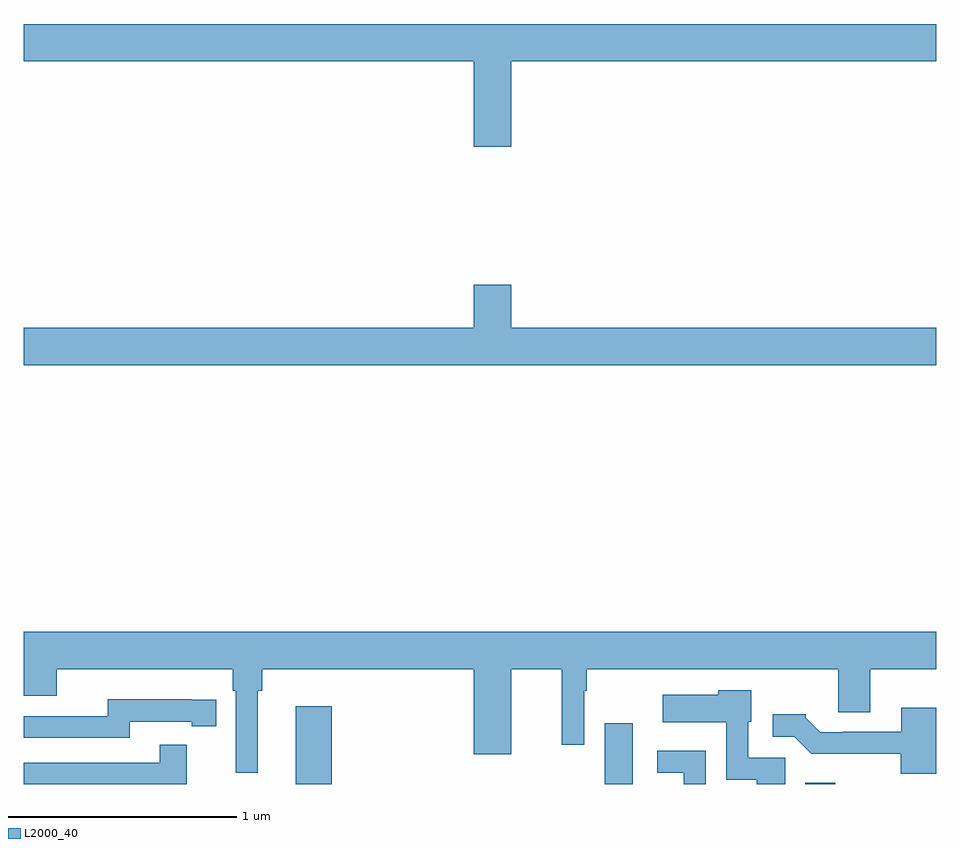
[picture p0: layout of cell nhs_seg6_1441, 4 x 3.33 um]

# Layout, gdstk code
import gdstk
lib = gdstk.Library(unit=1e-6, precision=1e-09)
def R(c, l, rs):  # rectangles x0, y0, x1, y1
    for r in rs: c.add(gdstk.rectangle(r[:2], r[2:], *l))
def P(c, l, *ps):  # polygons
    for p in ps: c.add(gdstk.Polygon(p, *l))
L2000_40 = (2000, 40)

nhs_seg6_1441 = lib.new_cell('nhs_seg6_1441')
R(nhs_seg6_1441, L2000_40, [(200.192,945.5,200.351,945.841), (201.548,945.5,201.67,945.766), (202.427,945.5,202.558,945.505)])
P(nhs_seg6_1441, L2000_40, [(201.136,948.668),(203,948.668),(203,948.832),(199,948.832),(199,948.668),(200.972,948.668),(200.972,948.294),(201.136,948.294)],
  [(203,947.5),(201.136,947.5),(201.136,947.689),(200.972,947.689),(200.972,947.5),(199,947.5),(199,947.336),(203,947.336)],
  [(200.026,945.908),(200.045,945.908),(200.045,946.004),(200.972,946.004),(200.972,945.63),(201.136,945.63),(201.136,946.004),(201.358,946.004),(201.358,945.672),(201.456,945.672),(201.456,945.908),(201.469,945.908),(201.469,946.004),(202.571,946.004),(202.571,945.814),(202.711,945.814),(202.711,946.004),(203,946.004),(203,946.168),(199,946.168),(199,945.887),(199.144,945.887),(199.144,946.004),(199.916,946.004),(199.916,945.908),(199.929,945.908),(199.929,945.549),(200.026,945.549)],
  [(202.339,945.615),(202.176,945.615),(202.176,945.774),(202.189,945.774),(202.189,945.91),(202.044,945.91),(202.044,945.892),(201.801,945.892),(201.801,945.77),(202.08,945.77),(202.08,945.518),(202.214,945.518),(202.214,945.5),(202.339,945.5)],
  [(199.464,945.774),(199.736,945.774),(199.736,945.754),(199.844,945.754),(199.844,945.87),(199.736,945.87),(199.736,945.871),(199.368,945.871),(199.368,945.798),(199,945.798),(199,945.702),(199.464,945.702)],
  [(203,945.835),(202.847,945.835),(202.847,945.729),(202.591,945.729),(202.591,945.726),(202.492,945.726),(202.428,945.79),(202.428,945.805),(202.284,945.805),(202.284,945.708),(202.377,945.708),(202.453,945.632),(202.845,945.632),(202.845,945.545),(203,945.545)],
  [(199.715,945.673),(199.597,945.673),(199.597,945.594),(199,945.594),(199,945.5),(199.715,945.5)],
  [(201.99,945.645),(201.777,945.645),(201.777,945.549),(201.894,945.549),(201.894,945.5),(201.99,945.5)])

lib.write_gds('nhs_seg6_1441.gds')
